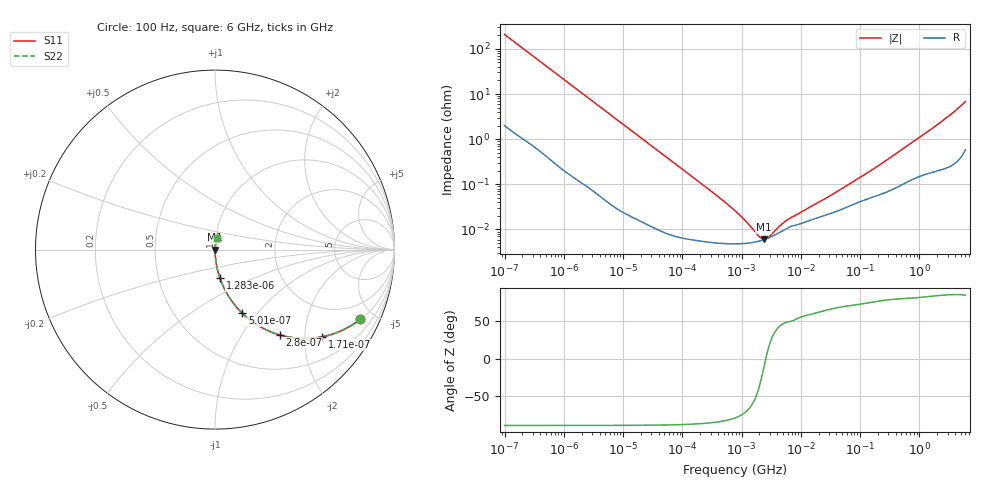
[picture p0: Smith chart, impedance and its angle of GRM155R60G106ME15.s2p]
!Murata Part Number: GRM155R60G106ME15
!These Parameters are Measured in Series Mode Connection
!Data Generated on Mar 30, 2021
!  o--ll--o
!Port1  Port2
!  o------o
!Operation Temp=25[degC], DC Bias Voltage=0[V]
!Freq. Start=100[Hz] Stop=6[GHz] 401[Steps]
# Hz S RI R 50
!Freq.(Hz) S11(Real) S11(Imag) S21(Real) S21(Imag) S12(Real) S12(Imag) S22(Real) S22(Imag)
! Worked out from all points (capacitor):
!   401 points, 100 Hz to 6 GHz, reference 50 ohm
!   read as one part in series: C = 7.64 uF near 109 Hz
!   lowest |Z| = 6.07 mohm at 2.373 MHz (marker M1)
!   series resonance near 2.562 MHz, so ESL is about 510 pH
!   S11 on the Smith chart (normalised r, x): 100 Hz: 1.04, -4.16; 171 Hz: 1.02, -2.44; 280 Hz: 1.02, -1.49; 501 Hz: 1.01, -0.84; 1.283 kHz: 1.00, -0.33; 6 GHz: 1.01, +0.14
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100  0.8099 -0.3876  0.1901 0.3876  0.1901 0.3876  0.8099 -0.3876
120  0.7498 -0.4284  0.2502 0.4284  0.2502 0.4284  0.7498 -0.4284
171  0.5968 -0.4857  0.4032 0.4857  0.4032 0.4857  0.5968 -0.4857
280  0.3597 -0.4749  0.6403 0.4749  0.6403 0.4749  0.3597 -0.4749
366  0.249 -0.4273  0.751 0.4273  0.751 0.4273  0.249 -0.4273
501  0.152 -0.354  0.848 0.354  0.848 0.354  0.152 -0.354
784  0.0694 -0.2494  0.9306 0.2494  0.9306 0.2494  0.0694 -0.2494
1283  0.0278 -0.1598  0.9722 0.1598  0.9722 0.1598  0.0278 -0.1598
2008  0.012 -0.1041  0.988 0.1041  0.988 0.1041  0.012 -0.1041
6433  0.00144 -0.0331  0.9986 0.0331  0.9986 0.0331  0.00144 -0.0331
40335  0.000124 -0.00535  0.9999 0.00535  0.9999 0.00535  0.000124 -0.00535
330837  5.13e-05 -0.000649  0.9999 0.000649  0.9999 0.000649  5.13e-05 -0.000649
774597  4.8e-05 -0.000256  1 0.000256  1 0.000256  4.8e-05 -0.000256
1585629  5.19e-05 -8.36e-05  0.9999 8.36e-05  0.9999 8.36e-05  5.19e-05 -8.36e-05
2372521  5.94e-05 -1.25e-05  0.9999 1.25e-05  0.9999 1.25e-05  5.94e-05 -1.25e-05
3882480  7.92e-05 6.4e-05  0.9999 -6.4e-05  0.9999 -6.4e-05  7.92e-05 6.4e-05
6075234  0.000109 0.000127  0.9999 -0.000127  0.9999 -0.000127  0.000109 0.000127
1.555665e7  0.000166 0.000289  0.9998 -0.000289  0.9998 -0.000289  0.000166 0.000289
9.753859e7  0.000409 0.00133  0.9996 -0.00133  0.9996 -0.00133  0.000409 0.00133
3.124326e8  0.000727 0.00372  0.9993 -0.00372  0.9993 -0.00372  0.000727 0.00372
1.873145e9  0.0023 0.0193  0.9977 -0.0193  0.9977 -0.0193  0.0023 0.0193
6e9  0.0103 0.0666  0.9897 -0.0666  0.9897 -0.0666  0.0103 0.0666
